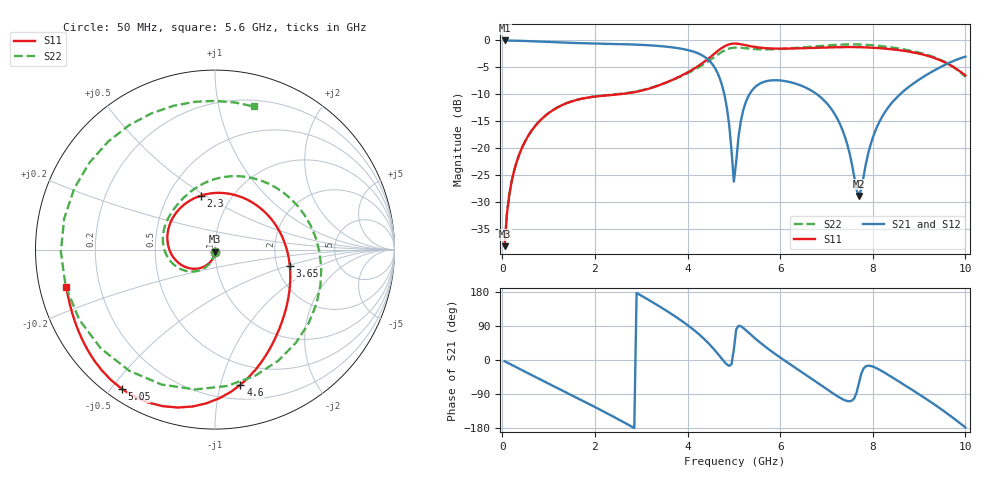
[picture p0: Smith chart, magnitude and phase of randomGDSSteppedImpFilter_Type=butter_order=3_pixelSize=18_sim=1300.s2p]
! freq	dB(S11)	phase(S11)	dB(S12)	phase(S12)
!  dB(S21)	phase(S21)	dB(S22)	phase(S22)
!S-par simulation data
#  GHz  S  DB  R 50
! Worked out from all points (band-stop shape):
!   200 points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, 50 MHz to 10 GHz, reference 50 ohm
!   highest |S21| = -0.01 dB at 50 MHz (marker M1); lowest = -28.8 dB at 7.7 GHz (marker M2)
!   |S21| within 3 dB of the highest: start of sweep to 4.362 GHz; 9.998884 GHz to end of sweep
!   lowest |S11| = -38.1 dB at 50 MHz (marker M3), VSWR 1.03, Z = 49.9 - j1.24 ohm
!   |S11| at or under -10 dB: start of sweep to 2.491 GHz
!   |S22| runs from -38.1 to -0.7 dB; largest |S21 - S12| = 0
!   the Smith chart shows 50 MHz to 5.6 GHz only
!   S11 on the Smith chart (normalised r, x): 50 MHz: 1.00, -0.02; 2.3 GHz: 0.72, +0.48; 3.65 GHz: 2.35, -0.52; 4.6 GHz: 0.32, -1.16; 5.05 GHz: 0.04, -0.53; 5.6 GHz: 0.08, -0.12
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0.05  -38.11 -93.3  -0.01 -3.2  -0.01 -3.2  -38.05 -92.5
0.2  -26.21 -103.5  -0.03 -12.7  -0.03 -12.7  -26.20 -101.8
0.5  -18.58 -124.2  -0.11 -31.5  -0.11 -31.5  -18.57 -119.6
1.75  -10.74 148.5  -0.52 -108.5  -0.52 -108.5  -10.72 173.3
2.3  -10.15 104.7  -0.63 -143.1  -0.63 -143.1  -10.10 147.8
3.4  -8.26 7.7  -1.04 141.0  -1.04 141.0  -8.24 92.9
3.65  -7.40 -12.4  -1.26 121.7  -1.26 121.7  -7.43 74.3
4.15  -5.18 -47.6  -2.14 77.9  -2.14 77.9  -5.43 21.0
4.6  -2.31 -79.3  -5.22 24.1  -5.22 24.1  -2.95 -60.3
4.8  -1.08 -98.1  -10.19 -5.5  -10.19 -5.5  -1.85 -111.5
5  -0.59 -118.9  -26.16 27.4  -26.16 27.4  -1.34 -166.2
5.05  -0.60 -123.9  -22.56 80.2  -22.56 80.2  -1.32 -179.2
5.3  -0.96 -145.3  -10.58 74.3  -10.58 74.3  -1.49 124.6
5.6  -1.37 -166.0  -7.84 42.7  -7.84 42.7  -1.66 74.9
6.1  -1.52 159.9  -7.52 -1.8  -7.52 -1.8  -1.53 16.3
6.7  -1.39 109.2  -9.43 -51.2  -9.43 -51.2  -1.14 -36.0
7.15  -1.27 59.4  -13.26 -88.8  -13.26 -88.8  -0.85 -69.9
7.7  -1.25 -11.6  -28.83 -61.3  -28.83 -61.3  -0.75 -109.8
8.35  -1.59 -86.3  -12.23 -40.4  -12.23 -40.4  -1.23 -157.1
8.85  -2.18 -129.9  -8.14 -78.7  -8.14 -78.7  -1.96 163.7
9.35  -3.31 -165.3  -5.45 -118.9  -5.45 -118.9  -3.19 117.5
10  -6.48 160.8  -3.00 -178.0  -3.00 -178.0  -6.74 39.0
